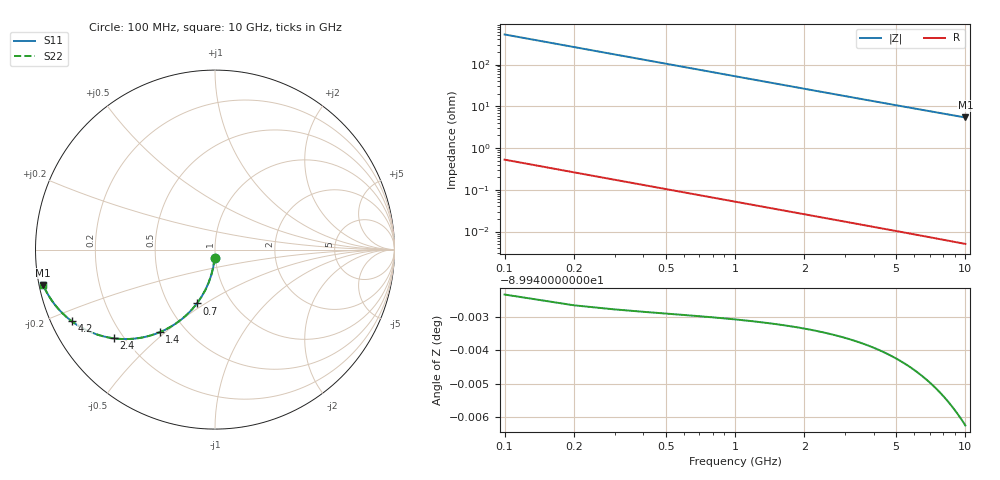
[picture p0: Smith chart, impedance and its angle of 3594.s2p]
# Hz S RI R 50.00
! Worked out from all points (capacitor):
!   100 points, 100 MHz to 10 GHz, reference 50 ohm
!   read as one part in shunt: C = 3.04 pF near 100 MHz
!   lowest |Z| = 5.4 ohm at 10 GHz (marker M1)
!   S11 on the Smith chart (normalised r, x): 100 MHz: 0.99, -0.09; 700 MHz: 0.69, -0.46; 1.4 GHz: 0.36, -0.48; 2.4 GHz: 0.16, -0.37; 4.2 GHz: 0.06, -0.24; 10 GHz: 0.01, -0.10
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1e8  -0.0023 -0.0475  0.9977 -0.0476  0.9977 -0.0476  -0.0023 -0.0475
2e8  -0.00909 -0.0944  0.9909 -0.0946  0.9909 -0.0946  -0.00909 -0.0944
3e8  -0.0202 -0.14  0.9798 -0.1403  0.9798 -0.1403  -0.0202 -0.14
4e8  -0.0352 -0.1838  0.9647 -0.1841  0.9647 -0.1841  -0.0352 -0.1838
5e8  -0.0539 -0.2252  0.946 -0.2257  0.946 -0.2257  -0.0539 -0.2252
6e8  -0.0758 -0.264  0.9242 -0.2645  0.9242 -0.2645  -0.0758 -0.264
7e8  -0.1004 -0.2997  0.8996 -0.3003  0.8996 -0.3003  -0.1004 -0.2997
8e8  -0.1271 -0.3323  0.8728 -0.333  0.8728 -0.333  -0.1271 -0.3323
1e9  -0.1852 -0.3875  0.8148 -0.3884  0.8148 -0.3884  -0.1852 -0.3875
1.2e9  -0.2464 -0.4299  0.7536 -0.431  0.7536 -0.431  -0.2464 -0.4299
1.4e9  -0.3078 -0.4605  0.6922 -0.4617  0.6922 -0.4617  -0.3078 -0.4605
1.8e9  -0.4232 -0.4928  0.5768 -0.4944  0.5768 -0.4944  -0.4232 -0.4928
2.1e9  -0.4993 -0.4986  0.5006 -0.5004  0.5006 -0.5004  -0.4993 -0.4986
2.4e9  -0.5654 -0.4941  0.4346 -0.4963  0.4346 -0.4963  -0.5654 -0.4941
2.9e9  -0.6547 -0.4737  0.3453 -0.4763  0.3453 -0.4763  -0.6547 -0.4737
3.4e9  -0.7223 -0.4458  0.2777 -0.4489  0.2777 -0.4489  -0.7223 -0.4458
4.2e9  -0.7983 -0.3988  0.2017 -0.4027  0.2017 -0.4027  -0.7983 -0.3988
5.1e9  -0.8534 -0.3509  0.1466 -0.3555  0.1466 -0.3555  -0.8534 -0.3509
5.8e9  -0.8826 -0.3187  0.1174 -0.3241  0.1174 -0.3241  -0.8826 -0.3187
6.7e9  -0.9092 -0.2837  0.0908 -0.2899  0.0908 -0.2899  -0.9092 -0.2837
8.4e9  -0.9402 -0.2327  0.0598 -0.2405  0.0598 -0.2405  -0.9402 -0.2327
1e10  -0.957 -0.1976  0.0429 -0.2069  0.0429 -0.2069  -0.957 -0.1976
